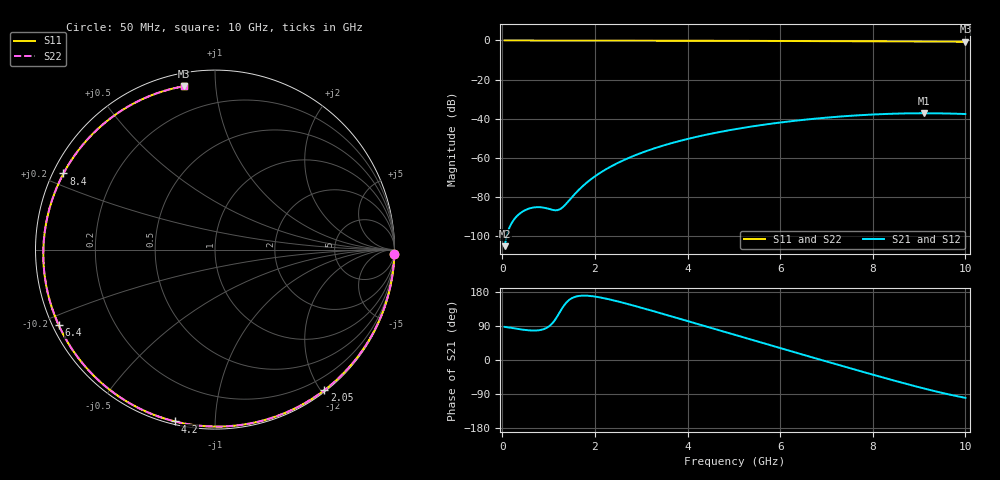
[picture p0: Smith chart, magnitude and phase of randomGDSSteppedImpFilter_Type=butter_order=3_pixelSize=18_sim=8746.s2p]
! freq	dB(S11)	phase(S11)	dB(S12)	phase(S12)
!  dB(S21)	phase(S21)	dB(S22)	phase(S22)
!S-par simulation data
#  GHz  S  DB  R 50
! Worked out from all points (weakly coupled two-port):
!   200 points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, 50 MHz to 10 GHz, reference 50 ohm
!   highest |S21| = -37.14 dB at 9.1 GHz (marker M1); lowest = -105.0 dB at 50 MHz (marker M2)
!   lowest |S11| = -0.7 dB at 10 GHz (marker M3), VSWR 26.21, Z = 3.21 + j41.2 ohm
!   |S11| at or under -10 dB: nowhere
!   |S22| runs from -0.7 to 0.0 dB; largest |S21 - S12| = 0
!   S11 on the Smith chart (normalised r, x): 50 MHz: 2, -87; 2.05 GHz: 0.02, -2.05; 4.2 GHz: 0.01, -0.79; 6.4 GHz: 0.02, -0.23; 8.4 GHz: 0.03, +0.24; 10 GHz: 0.06, +0.82
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0.05  -0.01 -1.3  -104.97 87.3  -104.97 87.3  -0.00 -1.3
0.75  -0.02 -19.4  -85.06 78.0  -85.06 78.0  -0.02 -19.3
1.5  -0.05 -38.4  -80.10 163.0  -80.10 163.0  -0.05 -38.4
1.75  -0.06 -44.6  -74.05 169.9  -74.05 169.9  -0.06 -44.7
2.05  -0.07 -52.1  -68.54 166.5  -68.54 166.5  -0.07 -52.1
2.35  -0.08 -59.4  -64.26 158.9  -64.26 158.9  -0.08 -59.4
2.65  -0.09 -66.7  -60.78 149.7  -60.78 149.7  -0.09 -66.7
3.4  -0.11 -84.5  -54.18 124.1  -54.18 124.1  -0.11 -84.5
4.2  -0.15 -103.1  -49.15 95.6  -49.15 95.6  -0.15 -103.1
5.05  -0.19 -122.7  -45.18 65.2  -45.18 65.2  -0.19 -122.7
5.75  -0.24 -138.8  -42.65 40.3  -42.65 40.3  -0.24 -138.8
6.4  -0.29 -154.2  -40.77 17.3  -40.77 17.3  -0.29 -154.2
6.7  -0.32 -161.4  -40.04 6.7  -40.04 6.7  -0.32 -161.5
7.15  -0.36 -172.7  -39.09 -9.1  -39.09 -9.1  -0.36 -172.7
7.55  -0.40 177.0  -38.40 -23.1  -38.40 -23.1  -0.40 177.0
7.95  -0.44 166.2  -37.85 -36.9  -37.85 -36.9  -0.44 166.1
8.35  -0.49 154.8  -37.45 -50.6  -37.45 -50.6  -0.49 154.8
8.4  -0.49 153.3  -37.41 -52.2  -37.41 -52.2  -0.49 153.3
8.75  -0.53 142.8  -37.21 -63.8  -37.21 -63.8  -0.53 142.8
9.1  -0.57 131.8  -37.14 -75.0  -37.14 -75.0  -0.57 131.8
9.55  -0.62 116.8  -37.24 -88.3  -37.24 -88.3  -0.62 116.8
10  -0.66 100.9  -37.54 -99.8  -37.54 -99.8  -0.66 100.9
